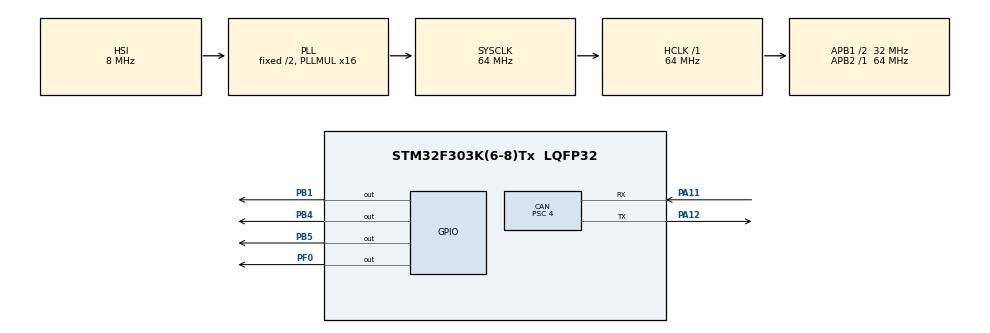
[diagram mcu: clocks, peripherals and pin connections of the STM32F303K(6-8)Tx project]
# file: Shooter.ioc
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CAN.BS1=CAN_BS1_13TQ
CAN.BS2=CAN_BS2_4TQ
CAN.CalculateBaudRate=444444
CAN.CalculateTimeBit=2250.00
CAN.CalculateTimeQuantum=125.0
CAN.Prescaler=4
Mcu.Family=STM32F3
Mcu.Name=STM32F303K(6-8)Tx
Mcu.Package=LQFP32
NVIC.CAN_RX0_IRQn=true\:0\:0\:false\:false\:true\:true\:true
NVIC.PriorityGroup=NVIC_PRIORITYGROUP_4
NVIC.TIM2_IRQn=true\:0\:0\:false\:false\:true\:true\:true
PA11.Mode=CAN_Activate
PA11.Signal=CAN_RX
PA12.Mode=CAN_Activate
PA12.Signal=CAN_TX
PB1.Signal=GPIO_Output
PB4.Signal=GPIO_Output
PB5.Signal=GPIO_Output
PF0\ /\ OSC_IN.Signal=GPIO_Output
ProjectManager.HeapSize=0x200
ProjectManager.StackSize=0x400
ProjectManager.TargetToolchain=STM32CubeIDE
RCC.AHBFreq_Value=64000000
RCC.APB1CLKDivider=RCC_HCLK_DIV2
RCC.APB1Freq_Value=32000000
RCC.APB1TimFreq_Value=64000000
RCC.APB2Freq_Value=64000000
RCC.APB2TimFreq_Value=64000000
RCC.CortexFreq_Value=64000000
RCC.HCLKFreq_Value=64000000
RCC.HSE_VALUE=8000000
RCC.HSI_VALUE=8000000
RCC.PLLMUL=RCC_PLL_MUL16
RCC.SYSCLKFreq_VALUE=64000000
RCC.SYSCLKSourceVirtual=RCC_SYSCLKSOURCE_PLLCLK
TIM2.Period=20
TIM2.Prescaler=6400-1
VP_TIM2_VS_ClockSourceINT.Mode=Internal
board=custom

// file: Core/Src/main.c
/* USER CODE BEGIN Header */
/**
  ******************************************************************************
  * @file           : main.c
  * @brief          : Main program body
  ******************************************************************************
  * @attention
  *
  * <h2><center>&copy; Copyright (c) 2021 STMicroelectronics.
  * All rights reserved.</center></h2>
  *
  * This software component is licensed by ST under BSD 3-Clause license,
  * the "License"; You may not use this file except in compliance with the
  * License. You may obtain a copy of the License at:
  *                        opensource.org/licenses/BSD-3-Clause
  *
  ******************************************************************************
  */
/* USER CODE END Header */
#include "main.h"

CAN_HandleTypeDef hcan;

TIM_HandleTypeDef htim2;

void SystemClock_Config(void);
static void MX_GPIO_Init(void);
static void MX_CAN_Init(void);
static void MX_TIM2_Init(void);

/* USER CODE BEGIN 0 */

CAN_FilterTypeDef filter;
void Filter_Init(){
	filter.FilterIdHigh         = 0;
	filter.FilterIdLow          = 0;
	filter.FilterMaskIdHigh     = 0;
	filter.FilterMaskIdLow      = 0;
	filter.FilterScale          = CAN_FILTERSCALE_32BIT;
	filter.FilterFIFOAssignment = CAN_FILTER_FIFO0;
	filter.FilterBank           = 0;
	filter.FilterMode           = CAN_FILTERMODE_IDMASK;
	filter.SlaveStartFilterBank = 14;
	filter.FilterActivation     = ENABLE;
	HAL_CAN_ConfigFilter(&hcan, &filter);
}

uint32_t id;
uint32_t dlc;
uint8_t data[8];
uint8_t switch_data[2];

CAN_TxHeaderTypeDef TxHeader;
uint32_t TxMailbox;
uint8_t TxData[8];

int devide_step=-2;
int time_count=0;
int i=0;

int steppint_roate_times[3]={5400,3600,1800};
int stepping_step[2]={0,0};
#define WAIT_TIME 3500

void HAL_CAN_RxFifo0MsgPendingCallback(CAN_HandleTypeDef *hcan)
{

	CAN_RxHeaderTypeDef RxHeader;
	uint8_t RxData[8];

    if (HAL_CAN_GetRxMessage(hcan, CAN_RX_FIFO0, &RxHeader, RxData) == HAL_OK)
    {
    	if(RxHeader.StdId==0x552){
			id = (RxHeader.IDE == CAN_ID_STD)? RxHeader.StdId : RxHeader.ExtId;
			dlc = RxHeader.DLC;

			if(RxData[6]=='T' && devide_step==-2){
				time_count=WAIT_TIME;
				devide_step=-1;
			}

			if(RxData[6]=='T' && devide_step==6){
				time_count=WAIT_TIME;
				devide_step=7;
			}

			data[0] = RxData[0];
			data[1] = RxData[1];
			data[2] = RxData[2];
			data[3] = RxData[3];
			data[4] = RxData[4];
			data[5] = RxData[5];
			data[6] = RxData[6];
			data[7] = RxData[7];
    	}

    	/*
    	if(RxHeader.StdId==0x334){
			id = (RxHeader.IDE == CAN_ID_STD)? RxHeader.StdId : RxHeader.ExtId;
			dlc = RxHeader.DLC;
			if(RxData[0]=='T'){
				switch_data[0]=RxData[0];
			}
			if(RxData[1]=='T'){
				switch_data[1]=RxData[1];
			}

			if(devide_step==-3 && switch_data[0] =='T'  && switch_data[1] =='T'){
				devide_step=-2;
			}

    	}
    	*/

    }

}

int stepping_output[4][2]={{0,0},{0,1},{1,1},{1,0}};

void Rotate(){

	if(stepping_output[stepping_step[0]%4][0]==0){
		HAL_GPIO_WritePin(GPIOB, GPIO_PIN_1,GPIO_PIN_RESET);
		HAL_GPIO_WritePin(GPIOB, GPIO_PIN_5,GPIO_PIN_RESET);
	}
	else {
		HAL_GPIO_WritePin(GPIOB, GPIO_PIN_1,GPIO_PIN_SET);
		HAL_GPIO_WritePin(GPIOB, GPIO_PIN_5,GPIO_PIN_SET);
	}

	if(stepping_output[stepping_step[1]%4][1]==0){
		HAL_GPIO_WritePin(GPIOF, GPIO_PIN_0,GPIO_PIN_RESET);
		HAL_GPIO_WritePin(GPIOB, GPIO_PIN_4,GPIO_PIN_RESET);
	}
	else {
		HAL_GPIO_WritePin(GPIOF, GPIO_PIN_0,GPIO_PIN_SET);
		HAL_GPIO_WritePin(GPIOB, GPIO_PIN_4,GPIO_PIN_SET);
	}
}

void HAL_TIM_PeriodElapsedCallback(TIM_HandleTypeDef *htim)
{
    if (htim == &htim2){
    	if( (0<=devide_step && devide_step<=5) || (devide_step==8 || devide_step==9 )){

			if(devide_step%2==0 ){
				for(i=0;i<2;i++){
					stepping_step[i]++;
					stepping_step[i]%=4;
				}
			}
			else{
				for(i=0;i<2;i++){
					stepping_step[i]--;
					if(stepping_step[i]<0){
						stepping_step[i]+=4;
					}
				}
			}

			Rotate();
			if(time_count>0){
				time_count--;
				if(time_count==0){
					devide_step++;
					if( (0<= devide_step && devide_step<6) || devide_step==8 ){
						time_count=steppint_roate_times[0];
					}
					else if(devide_step==9){
						devide_step=10;
					}
				}
			}

    	}
    	else if(devide_step==-3 ){
    		if(switch_data[0]=='F'){
    			stepping_step[0]--;
				if(stepping_step[0]<0){
					stepping_step[0]+=4;
				}
    		}

    		if(switch_data[1]=='F'){
    			stepping_step[1]--;
				if(stepping_step[1]<0){
					stepping_step[1]+=4;
				}
    		}

    		Rotate();
    	}
    	else if(devide_step==-1 || devide_step==7){
    		if(time_count>0){
				time_count--;
				if(time_count==0){
					devide_step++;
					time_count=steppint_roate_times[0];
				}
			}

    	}

    }
}

/* USER CODE END 0 */

int main(void)
{

  /* MCU Configuration--------------------------------------------------------*/

  /* Reset of all peripherals, Initializes the Flash interface and the Systick. */
  HAL_Init();

  /* Configure the system clock */
  SystemClock_Config();

  /* Initialize all configured peripherals */
  MX_GPIO_Init();
  MX_CAN_Init();
  MX_TIM2_Init();
  /* USER CODE BEGIN 2 */
  HAL_TIM_Base_Start_IT(&htim2);

	HAL_CAN_Start(&hcan);
	Filter_Init();
	HAL_CAN_ActivateNotification(&hcan, CAN_IT_RX_FIFO0_MSG_PENDING);
	HAL_GPIO_WritePin(GPIOB, GPIO_PIN_1,GPIO_PIN_RESET);
	HAL_GPIO_WritePin(GPIOF, GPIO_PIN_0,GPIO_PIN_RESET);
	HAL_GPIO_WritePin(GPIOB, GPIO_PIN_4,GPIO_PIN_RESET);
	HAL_GPIO_WritePin(GPIOB, GPIO_PIN_5,GPIO_PIN_RESET);

  /* USER CODE END 2 */

  /* Infinite loop */
  while (1)
  {

  }
}

void SystemClock_Config(void)
{
  RCC_OscInitTypeDef RCC_OscInitStruct = {0};
  RCC_ClkInitTypeDef RCC_ClkInitStruct = {0};

  /** Initializes the RCC Oscillators according to the specified parameters
  * in the RCC_OscInitTypeDef structure.
  */
  RCC_OscInitStruct.OscillatorType = RCC_OSCILLATORTYPE_HSI;
  RCC_OscInitStruct.HSIState = RCC_HSI_ON;
  RCC_OscInitStruct.HSICalibrationValue = RCC_HSICALIBRATION_DEFAULT;
  RCC_OscInitStruct.PLL.PLLState = RCC_PLL_ON;
  RCC_OscInitStruct.PLL.PLLSource = RCC_PLLSOURCE_HSI;
  RCC_OscInitStruct.PLL.PLLMUL = RCC_PLL_MUL16;
  if (HAL_RCC_OscConfig(&RCC_OscInitStruct) != HAL_OK)
  {
    Error_Handler();
  }
  /** Initializes the CPU, AHB and APB buses clocks
  */
  RCC_ClkInitStruct.ClockType = RCC_CLOCKTYPE_HCLK|RCC_CLOCKTYPE_SYSCLK
                              |RCC_CLOCKTYPE_PCLK1|RCC_CLOCKTYPE_PCLK2;
  RCC_ClkInitStruct.SYSCLKSource = RCC_SYSCLKSOURCE_PLLCLK;
  RCC_ClkInitStruct.AHBCLKDivider = RCC_SYSCLK_DIV1;
  RCC_ClkInitStruct.APB1CLKDivider = RCC_HCLK_DIV2;
  RCC_ClkInitStruct.APB2CLKDivider = RCC_HCLK_DIV1;

  if (HAL_RCC_ClockConfig(&RCC_ClkInitStruct, FLASH_LATENCY_2) != HAL_OK)
  {
    Error_Handler();
  }
}

static void MX_CAN_Init(void)
{

  hcan.Instance = CAN;
  hcan.Init.Prescaler = 4;
  hcan.Init.Mode = CAN_MODE_NORMAL;
  hcan.Init.SyncJumpWidth = CAN_SJW_1TQ;
  hcan.Init.TimeSeg1 = CAN_BS1_13TQ;
  hcan.Init.TimeSeg2 = CAN_BS2_4TQ;
  hcan.Init.TimeTriggeredMode = DISABLE;
  hcan.Init.AutoBusOff = DISABLE;
  hcan.Init.AutoWakeUp = DISABLE;
  hcan.Init.AutoRetransmission = DISABLE;
  hcan.Init.ReceiveFifoLocked = DISABLE;
  hcan.Init.TransmitFifoPriority = DISABLE;
  if (HAL_CAN_Init(&hcan) != HAL_OK)
  {
    Error_Handler();
  }

}

static void MX_TIM2_Init(void)
{

  TIM_ClockConfigTypeDef sClockSourceConfig = {0};
  TIM_MasterConfigTypeDef sMasterConfig = {0};

  htim2.Instance = TIM2;
  htim2.Init.Prescaler = 6400-1;
  htim2.Init.CounterMode = TIM_COUNTERMODE_UP;
  htim2.Init.Period = 20;
  htim2.Init.ClockDivision = TIM_CLOCKDIVISION_DIV1;
  htim2.Init.AutoReloadPreload = TIM_AUTORELOAD_PRELOAD_DISABLE;
  if (HAL_TIM_Base_Init(&htim2) != HAL_OK)
  {
    Error_Handler();
  }
  sClockSourceConfig.ClockSource = TIM_CLOCKSOURCE_INTERNAL;
  if (HAL_TIM_ConfigClockSource(&htim2, &sClockSourceConfig) != HAL_OK)
  {
    Error_Handler();
  }
  sMasterConfig.MasterOutputTrigger = TIM_TRGO_RESET;
  sMasterConfig.MasterSlaveMode = TIM_MASTERSLAVEMODE_DISABLE;
  if (HAL_TIMEx_MasterConfigSynchronization(&htim2, &sMasterConfig) != HAL_OK)
  {
    Error_Handler();
  }

}

static void MX_GPIO_Init(void)
{
  GPIO_InitTypeDef GPIO_InitStruct = {0};

  /* GPIO Ports Clock Enable */
  __HAL_RCC_GPIOF_CLK_ENABLE();
  __HAL_RCC_GPIOB_CLK_ENABLE();
  __HAL_RCC_GPIOA_CLK_ENABLE();

  /*Configure GPIO pin Output Level */
  HAL_GPIO_WritePin(GPIOF, GPIO_PIN_0, GPIO_PIN_RESET);

  /*Configure GPIO pin Output Level */
  HAL_GPIO_WritePin(GPIOB, GPIO_PIN_1|GPIO_PIN_4|GPIO_PIN_5, GPIO_PIN_RESET);

  /*Configure GPIO pin : PF0 */
  GPIO_InitStruct.Pin = GPIO_PIN_0;
  GPIO_InitStruct.Mode = GPIO_MODE_OUTPUT_PP;
  GPIO_InitStruct.Pull = GPIO_NOPULL;
  GPIO_InitStruct.Speed = GPIO_SPEED_FREQ_LOW;
  HAL_GPIO_Init(GPIOF, &GPIO_InitStruct);

  /*Configure GPIO pins : PB1 PB4 PB5 */
  GPIO_InitStruct.Pin = GPIO_PIN_1|GPIO_PIN_4|GPIO_PIN_5;
  GPIO_InitStruct.Mode = GPIO_MODE_OUTPUT_PP;
  GPIO_InitStruct.Pull = GPIO_NOPULL;
  GPIO_InitStruct.Speed = GPIO_SPEED_FREQ_LOW;
  HAL_GPIO_Init(GPIOB, &GPIO_InitStruct);

}

void Error_Handler(void)
{
  __disable_irq();
  while (1)
  {
  }
}

/************************ (C) COPYRIGHT STMicroelectronics *****END OF FILE****/
